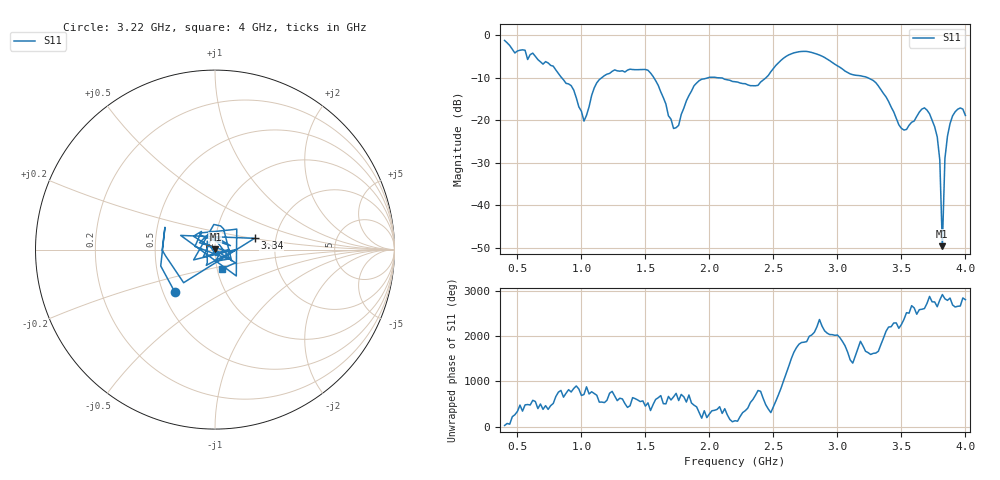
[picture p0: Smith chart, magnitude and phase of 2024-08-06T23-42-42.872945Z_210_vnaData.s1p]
!Created with skrf (http://scikit-rf.org).
# Hz S RI R 50.0
!freq ReS11 ImS11
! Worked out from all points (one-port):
!   181 points, 400 MHz to 4 GHz, reference 50 ohm
!   lowest |S11| = -49.6 dB at 3.82 GHz (marker M1), VSWR 1.01, Z = 50.2 + j0.223 ohm
!   |S11| at or under -10 dB: 1.567 GHz to 1.987 GHz (420.1 MHz wide, 23.6 % of centre); 2.081 GHz to 2.441 GHz (359.7 MHz wide, 15.9 % of centre); 3.239 GHz to end of sweep (the widest 3 of 4)
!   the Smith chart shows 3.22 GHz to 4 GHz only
!   S11 on the Smith chart (normalised r, x): 3.22 GHz: 0.57, -0.30; 3.34 GHz: 1.55, +0.21; 4 GHz: 1.05, -0.23
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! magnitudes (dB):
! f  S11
! 400 MHz  -1.2
! 860 MHz  -10.5
! 940 MHz  -12.9
! 1.02 GHz  -20.2
! 1.12 GHz  -11.2
! 1.3 GHz  -8.4
! 1.52 GHz  -8.2
! 1.6 GHz  -11.8
! 1.72 GHz  -21.9
! 1.76 GHz  -21.2
! 1.82 GHz  -15.4
! 1.92 GHz  -10.7
! 2.2 GHz  -10.9
! 2.38 GHz  -11.8
! 2.66 GHz  -4.1
! 3.1 GHz  -9.1
! 3.22 GHz  -9.8
! 3.34 GHz  -12.8
! 3.5 GHz  -21.9
! 3.56 GHz  -21.2
! 3.68 GHz  -17.1
! 3.76 GHz  -21.5
! 3.8 GHz  -29.3
! 3.82 GHz  -49.6
! 3.84 GHz  -29.0
! 3.86 GHz  -23.7
! 3.92 GHz  -18.0
! 4 GHz  -18.9
